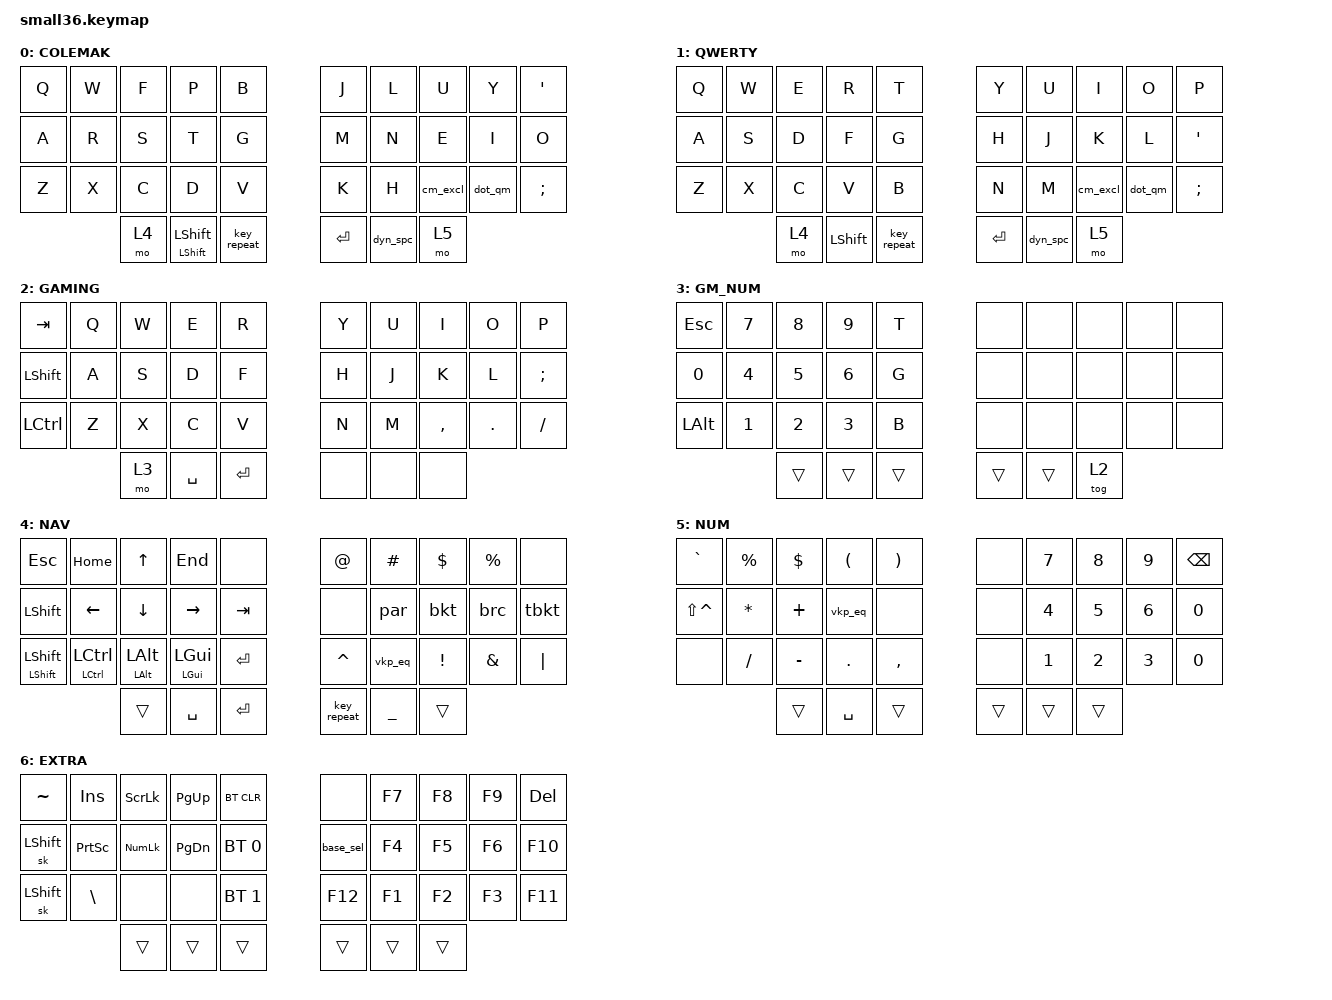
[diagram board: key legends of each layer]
#include <behaviors.dtsi>
#include <dt-bindings/zmk/bt.h>
#include <dt-bindings/zmk/keys.h>

// dt-formatter: indent = "  "
// dt-formatter: multilineIntegerCellsIndent = "reindent"
// dt-formatter: multilineListCommaStyle = "leading"

&sk {
  quick-release;
  release-after-ms = <1000>;
};

/ {
  behaviors {
    tap_sticky: tap_sticky {
      compatible = "zmk,behavior-hold-tap";
      #binding-cells = <2>;
      flavor = "tap-preferred";
      tapping-term-ms = <200>;
      bindings = <&kp>, <&sk>;

      hold-while-undecided;
      hold-while-undecided-linger;
    };

    multi_sft: multi_sft {
      compatible = "zmk,behavior-tap-dance";
      label = "MULTI_SFT";
      #binding-cells = <0>;
      bindings = <&sk LSHFT>, <&caps_word>;
    };

    dyn_spc: dyn_spc {
      compatible = "zmk,behavior-mod-morph";
      label = "DYN_SPC";
      bindings = <&kp SPACE>, <&hold_morph SPACE UNDERSCORE>;

      #binding-cells = <0>;
      mods = <(MOD_LSFT|MOD_RSFT)>;
    };

    dot_qm: dot_qm {
      compatible = "zmk,behavior-mod-morph";
      label = "DOT_QM";
      bindings = <&kp DOT>, <&kp QMARK>;

      #binding-cells = <0>;
      mods = <(MOD_LSFT|MOD_RSFT)>;
      keep-mods = <(MOD_LCTL|MOD_LALT|MOD_LGUI|MOD_RCTL|MOD_RALT|MOD_RGUI)>;
    };

    cm_excl: cm_excl {
      compatible = "zmk,behavior-mod-morph";
      label = "CM_EXCL";
      bindings = <&kp COMMA>, <&kp EXCL>;

      #binding-cells = <0>;
      mods = <(MOD_LSFT|MOD_RSFT)>;
      keep-mods = <(MOD_LCTL|MOD_LALT|MOD_LGUI|MOD_RCTL|MOD_RALT|MOD_RGUI)>;
    };

    par: par {
      compatible = "zmk,behavior-mod-morph";
      label = "PAR";
      bindings = <&kp LPAR>, <&kp RPAR>;

      #binding-cells = <0>;
      mods = <(MOD_LSFT|MOD_RSFT)>;
      keep-mods = <(MOD_LCTL|MOD_LALT|MOD_LGUI|MOD_RCTL|MOD_RALT|MOD_RGUI)>;
    };

    brc: brc {
      compatible = "zmk,behavior-mod-morph";
      label = "BRC";
      bindings = <&kp LBRC>, <&kp RBRC>;

      #binding-cells = <0>;
      mods = <(MOD_LSFT|MOD_RSFT)>;
      keep-mods = <(MOD_LCTL|MOD_LALT|MOD_LGUI|MOD_RCTL|MOD_RALT|MOD_RGUI)>;
    };

    bkt: bkt {
      compatible = "zmk,behavior-mod-morph";
      label = "BKT";
      bindings = <&kp LBKT>, <&kp RBKT>;

      #binding-cells = <0>;
      mods = <(MOD_LSFT|MOD_RSFT)>;
      keep-mods = <(MOD_LCTL|MOD_LALT|MOD_LGUI|MOD_RCTL|MOD_RALT|MOD_RGUI)>;
    };

    tbkt: tbkt {
      compatible = "zmk,behavior-mod-morph";
      label = "TBKT";
      bindings = <&kp LT>, <&kp GT>;

      #binding-cells = <0>;
      mods = <(MOD_LSFT|MOD_RSFT)>;
      keep-mods = <(MOD_LCTL|MOD_LALT|MOD_LGUI|MOD_RCTL|MOD_RALT|MOD_RGUI)>;
    };

    vkp_eq: vkp_eq {
      compatible = "zmk,behavior-mod-morph";
      label = "VKP_EQ";
      bindings = <&kp EQUAL>, <&kp EQUAL>;

      #binding-cells = <0>;
      mods = <(MOD_LSFT|MOD_RSFT)>;
      keep-mods = <(MOD_LCTL|MOD_LALT|MOD_LGUI|MOD_RCTL|MOD_RALT|MOD_RGUI)>;
    };

    bk_del: bk_del {
      compatible = "zmk,behavior-mod-morph";
      label = "BK_DEL";
      bindings = <&kp BSPC>, <&kp DEL>;

      #binding-cells = <0>;
      mods = <(MOD_LSFT|MOD_RSFT)>;
      keep-mods = <(MOD_LCTL|MOD_LALT|MOD_LGUI|MOD_RCTL|MOD_RALT|MOD_RGUI)>;
    };

    base_sel: base_sel {
      compatible = "zmk,behavior-tap-dance";
      label = "BASE_SEL";
      #binding-cells = <0>;
      bindings = <&to 0>, <&to 1>, <&to 2>;
    };

    smart_layer: smart_layer {
      compatible = "zmk,behavior-hold-tap";
      label = "SMART_LAYER";
      bindings = <&mo>, <&sl>;

      #binding-cells = <2>;
      tapping-term-ms = <200>;
    };

    hold_morph: hold_morph {
      compatible = "zmk,behavior-hold-tap";
      label = "HOLD_MORPH";
      bindings = <&kp>, <&kp>;

      #binding-cells = <2>;
      tapping-term-ms = <200>;
      quick-tap-ms = <200>;
      flavor = "tap-preferred";
    };

    bt_clr3: bt_clr3 {
      compatible = "zmk,behavior-tap-dance";
      label = "BT_CLR3";
      #binding-cells = <0>;
      bindings = <&none>, <&bt BT_CLR>, <&bt BT_CLR_ALL>;

      tapping-term-ms = <200>;
    };
  };

  combos {
    compatible = "zmk,combos";

    public {
      bindings = <&mc_public>;
      key-positions = <3 4>;
      layers = <0>;
      require-prior-idle-ms = <30>;
      slow-release;
    };

    protected {
      bindings = <&mc_protected>;
      key-positions = <3 19 13>;
      layers = <0>;
      require-prior-idle-ms = <30>;
      slow-release;
    };

    gl_pragma {
      bindings = <&mc_glsl_pragma>;
      key-positions = <3 14>;
      layers = <0>;
      require-prior-idle-ms = <30>;
      slow-release;
    };

    counter {
      bindings = <&mc_counter>;
      key-positions = <22 13>;
      layers = <0>;
      require-prior-idle-ms = <30>;
      slow-release;
    };

    extra {
      bindings = <&mc_extra>;
      key-positions = <21 13>;
      layers = <0>;
      require-prior-idle-ms = <30>;
      slow-release;
    };

    magn {
      bindings = <&mc_magn>;
      key-positions = <15 16>;
      layers = <0>;
      require-prior-idle-ms = <30>;
      slow-release;
    };

    multi {
      bindings = <&mc_multi>;
      key-positions = <15 6>;
      layers = <0>;
      require-prior-idle-ms = <30>;
      slow-release;
    };

    pseudo {
      bindings = <&mc_pseudo>;
      key-positions = <3 7 17>;
      layers = <0>;
      require-prior-idle-ms = <30>;
      slow-release;
    };

    retro {
      bindings = <&mc_retro>;
      key-positions = <11 19 13>;
      layers = <0>;
      require-prior-idle-ms = <30>;
      slow-release;
    };

    tion {
      bindings = <&mc_tion>;
      key-positions = <16 13>;
      layers = <0>;
      require-prior-idle-ms = <30>;
      slow-release;
    };

    tude {
      bindings = <&mc_tude>;
      key-positions = <13 23>;
      layers = <0>;
      require-prior-idle-ms = <30>;
      slow-release;
    };

    cause {
      bindings = <&mc_cause>;
      key-positions = <22 12>;
      layers = <0>;
      require-prior-idle-ms = <30>;
      slow-release;
    };

    ment {
      bindings = <&mc_ment>;
      key-positions = <15 13>;
      layers = <0>;
      require-prior-idle-ms = <30>;
      slow-release;
    };

    about {
      bindings = <&about>;
      key-positions = <10 4>;
      layers = <0>;
      require-prior-idle-ms = <30>;
      slow-release;
    };

    have {
      bindings = <&mc_have>;
      key-positions = <24 26>;
      layers = <0>;
      require-prior-idle-ms = <30>;
      slow-release;
    };

    ould {
      bindings = <&mc_ould>;
      key-positions = <6 23>;
      layers = <0>;
      require-prior-idle-ms = <30>;
      slow-release;
    };

    make {
      bindings = <&mc_make>;
      key-positions = <15 25>;
      layers = <0>;
      require-prior-idle-ms = <30>;
      slow-release;
    };

    what {
      bindings = <&mc_what>;
      key-positions = <1 10>;
      layers = <0>;
      require-prior-idle-ms = <30>;
      slow-release;
    };

    layout {
      bindings = <&mc_layout>;
      key-positions = <6 8 13>;
      layers = <0>;
      require-prior-idle-ms = <30>;
      slow-release;
    };

    break {
      bindings = <&mc_break>;
      key-positions = <4 25>;
    };
  };

  macros {
    mc_public: mc_public {
      compatible = "zmk,behavior-macro";
      #binding-cells = <0>;
      bindings = <&kp P &kp U &kp B &kp L &kp I &kp C>;
      label = "MC_PUBLIC";
    };

    mc_protected: mc_protected {
      compatible = "zmk,behavior-macro";
      #binding-cells = <0>;
      bindings = <&kp P &kp R &kp O &kp T &kp E &kp C &kp T &kp E &kp D>;
      label = "MC_PROTECTED";
    };

    mc_layout: mc_layout {
      compatible = "zmk,behavior-macro";
      #binding-cells = <0>;
      bindings = <&kp L &kp A &kp Y &kp O &kp U &kp T &kp LPAR &kp L &kp O &kp C &kp A &kp T &kp I &kp O &kp N &kp SPACE &kp EQUAL &kp SPACE>;
      label = "MC_LAYOUT";
    };

    mc_break: mc_break {
      compatible = "zmk,behavior-macro";
      #binding-cells = <0>;
      bindings = <&kp B &kp R &kp E &kp A &kp K>;
      label = "MC_BREAK";
    };

    mc_glsl_pragma: mc_glsl_pragma {
      compatible = "zmk,behavior-macro";
      #binding-cells = <0>;
      bindings = <&kp POUND &kp I &kp F &kp SPACE &kp EXCL &kp D &kp E &kp F &kp I &kp N &kp E &kp D &kp LPAR &kp LS(P) &kp LS(R) &kp LS(A) &kp LS(G) &kp LS(M) &kp LS(A) &kp RIGHT &kp RET &kp POUND &kp D &kp E &kp F &kp I &kp N &kp E &kp SPACE &kp LS(P) &kp LS(R) &kp LS(A) &kp LS(G) &kp LS(M) &kp LS(A) &kp ENTER &kp RET &kp RET &kp RET &kp RET &kp POUND &kp E &kp N &kp D &kp I &kp F &kp SPACE &kp FSLH &kp FSLH &kp SPACE &kp LS(E) &kp LS(O) &kp LS(F) &kp UP &kp UP &kp UP &kp UP &kp LS(LC(RIGHT)) &kp LG(D)>;
      label = "MC_GLSL_PRAGMA";
    };

    mc_counter: mc_counter {
      compatible = "zmk,behavior-macro";
      #binding-cells = <0>;
      bindings = <&kp C &kp O &kp U &kp N &kp T &kp E &kp R>;
      label = "MC_COUNTER";
    };

    mc_extra: mc_extra {
      compatible = "zmk,behavior-macro";
      #binding-cells = <0>;
      bindings = <&kp E &kp X &kp T &kp R &kp A>;
      label = "MC_EXTRA";
    };

    mc_magn: mc_magn {
      compatible = "zmk,behavior-macro";
      #binding-cells = <0>;
      bindings = <&kp M &kp A &kp G &kp N>;
      label = "MC_MAGN";
    };

    mc_multi: mc_multi {
      compatible = "zmk,behavior-macro";
      #binding-cells = <0>;
      bindings = <&kp M &kp U &kp L &kp T &kp I>;
      label = "MC_MULTI";
    };

    mc_pseudo: mc_pseudo {
      compatible = "zmk,behavior-macro";
      #binding-cells = <0>;
      bindings = <&kp P &kp S &kp E &kp U &kp D &kp O>;
      label = "MC_PSEUDO";
    };

    mc_retro: mc_retro {
      compatible = "zmk,behavior-macro";
      #binding-cells = <0>;
      bindings = <&kp R &kp E &kp T &kp R &kp O>;
      label = "MC_RETRO";
    };

    mc_tude: mc_tude {
      compatible = "zmk,behavior-macro";
      #binding-cells = <0>;
      bindings = <&kp T &kp U &kp D &kp E>;
      label = "MC_TUDE";
    };

    mc_cause: mc_cause {
      compatible = "zmk,behavior-macro";
      #binding-cells = <0>;
      bindings = <&kp C &kp A &kp U &kp S &kp E>;
      label = "MC_CAUSE";
    };

    mc_ment: mc_ment {
      compatible = "zmk,behavior-macro";
      #binding-cells = <0>;
      bindings = <&kp M &kp E &kp N &kp T>;
      label = "MC_MENT";
    };

    about: about {
      compatible = "zmk,behavior-macro";
      #binding-cells = <0>;
      bindings = <&kp A &kp B &kp O &kp U &kp T>;
      label = "ABOUT";
    };

    mc_have: mc_have {
      compatible = "zmk,behavior-macro";
      #binding-cells = <0>;
      bindings = <&kp H &kp A &kp V &kp E>;
      label = "MC_HAVE";
    };

    mc_tion: mc_tion {
      compatible = "zmk,behavior-macro";
      #binding-cells = <0>;
      bindings = <&kp T &kp I &kp O &kp N>;
      label = "MC_TION";
    };

    mc_ould: mc_would {
      compatible = "zmk,behavior-macro";
      #binding-cells = <0>;
      bindings = <&kp O &kp U &kp L &kp D>;
      label = "MC_WOULD";
    };

    mc_make: mc_make {
      compatible = "zmk,behavior-macro";
      #binding-cells = <0>;
      bindings = <&kp M &kp A &kp K &kp E>;
      label = "MC_MAKE";
    };

    mc_what: mc_what {
      compatible = "zmk,behavior-macro";
      #binding-cells = <0>;
      bindings = <&kp W &kp H &kp A &kp T>;
      label = "MC_WHAT";
    };
  };

  keymap {
    compatible = "zmk,keymap";

    COLEMAK {
      bindings = <
        &kp Q  &kp W  &kp F  &kp P                    &kp B        &kp J      &kp L     &kp U     &kp Y    &kp SQT
        &kp A  &kp R  &kp S  &kp T                    &kp G        &kp M      &kp N     &kp E     &kp I    &kp O
        &kp Z  &kp X  &kp C  &kp D                    &kp V        &kp K      &kp H     &cm_excl  &dot_qm  &kp SEMI
                      &mo 4  &tap_sticky LSHFT LSHFT  &key_repeat  &kp ENTER  &dyn_spc  &mo 5
      >;
    };

    QWERTY {
      bindings = <
        &kp Q  &kp W  &kp E  &kp R      &kp T        &kp Y      &kp U     &kp I     &kp O    &kp P
        &kp A  &kp S  &kp D  &kp F      &kp G        &kp H      &kp J     &kp K     &kp L    &kp SQT
        &kp Z  &kp X  &kp C  &kp V      &kp B        &kp N      &kp M     &cm_excl  &dot_qm  &kp SEMICOLON
                      &mo 4  &kp LSHFT  &key_repeat  &kp ENTER  &dyn_spc  &mo 5
      >;
    };

    GAMING {
      bindings = <
        &kp TAB     &kp Q  &kp W  &kp E      &kp R      &kp Y  &kp U  &kp I      &kp O    &kp P
        &kp LSHIFT  &kp A  &kp S  &kp D      &kp F      &kp H  &kp J  &kp K      &kp L    &kp SEMICOLON
        &kp LCTRL   &kp Z  &kp X  &kp C      &kp V      &kp N  &kp M  &kp COMMA  &kp DOT  &kp SLASH
                           &mo 3  &kp SPACE  &kp ENTER  &none  &none  &none
      >;
    };

    GM_NUM {
      bindings = <
        &kp ESC       &kp N7  &kp N8  &kp N9  &kp T   &none   &none   &none   &none  &none
        &kp N0        &kp N4  &kp N5  &kp N6  &kp G   &none   &none   &none   &none  &none
        &kp LEFT_ALT  &kp N1  &kp N2  &kp N3  &kp B   &none   &none   &none   &none  &none
                              &trans  &trans  &trans  &trans  &trans  &tog 2
      >;
    };

    NAV {
      bindings = <
        &kp ESC                  &kp HOME                 &kp UP                 &kp END                &none      &kp AT       &kp HASH   &kp DOLLAR  &kp PERCENT  &none
        &kp LSHFT                &kp LEFT                 &kp DOWN               &kp RIGHT              &kp TAB    &none        &par       &bkt        &brc         &tbkt
        &tap_sticky LSHFT LSHFT  &tap_sticky LCTRL LCTRL  &tap_sticky LALT LALT  &tap_sticky LGUI LGUI  &kp ENTER  &kp CARET    &vkp_eq    &kp EXCL    &kp AMPS     &kp PIPE
                                                          &trans                 &kp SPACE              &kp ENTER  &key_repeat  &kp UNDER  &trans
      >;
    };

    NUM {
      bindings = <
        &kp GRAVE      &kp PRCNT  &kp DLLR   &kp LPAR   &kp RPAR   &none   &kp N7  &kp N8  &kp N9  &kp BACKSPACE
        &kp LS(CARET)  &kp STAR   &kp PLUS   &vkp_eq    &none      &none   &kp N4  &kp N5  &kp N6  &kp N0
        &none          &kp FSLH   &kp MINUS  &kp DOT    &kp COMMA  &none   &kp N1  &kp N2  &kp N3  &kp N0
                                  &trans     &kp SPACE  &trans     &trans  &trans  &trans
      >;
    };

    EXTRA {
      bindings = <
        &kp TILDE  &kp INS          &kp SCROLLLOCK  &kp PG_UP  &bt BT_CLR    &none      &kp F7  &kp F8  &kp F9  &kp DEL
        &sk LSHFT  &kp PRINTSCREEN  &kp KP_NUMLOCK  &kp PG_DN  &bt BT_SEL 0  &base_sel  &kp F4  &kp F5  &kp F6  &kp F10
        &sk LSHFT  &kp BSLH         &none           &none      &bt BT_SEL 1  &kp F12    &kp F1  &kp F2  &kp F3  &kp F11
                                    &trans          &trans     &trans        &trans     &trans  &trans
      >;
    };
  };

  conditional_layers {
    compatible = "zmk,conditional-layers";

    both {
      if-layers = <4 5>;
      then-layer = <6>;
    };
  };
};
